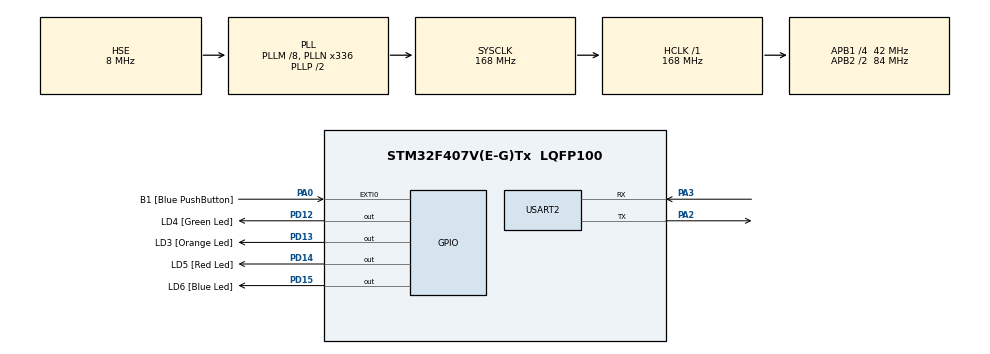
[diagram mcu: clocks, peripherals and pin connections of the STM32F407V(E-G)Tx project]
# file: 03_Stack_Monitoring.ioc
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FREERTOS.Tasks01=defaultTask,24,128,StartDefaultTask,Default,NULL,Dynamic,NULL,NULL
FREERTOS.configCHECK_FOR_STACK_OVERFLOW=2
FREERTOS.configTOTAL_HEAP_SIZE=32768
FREERTOS.configUSE_IDLE_HOOK=0
FREERTOS.configUSE_MALLOC_FAILED_HOOK=1
FREERTOS.configUSE_TICK_HOOK=0
FREERTOS.configUSE_TRACE_FACILITY=1
Mcu.Family=STM32F4
Mcu.Name=STM32F407V(E-G)Tx
Mcu.Package=LQFP100
NVIC.EXTI0_IRQn=true\:5\:0\:false\:false\:true\:true\:true\:true\:true
NVIC.PriorityGroup=NVIC_PRIORITYGROUP_4
NVIC.TIM6_DAC_IRQn=true\:15\:0\:false\:false\:true\:false\:false\:true\:true
NVIC.TimeBase=TIM6_DAC_IRQn
NVIC.TimeBaseIP=TIM6
PA0-WKUP.GPIO_Label=B1 [Blue PushButton]
PA0-WKUP.GPIO_ModeDefaultEXTI=GPIO_MODE_IT_RISING
PA0-WKUP.GPIO_PuPd=GPIO_NOPULL
PA0-WKUP.Signal=GPXTI0
PA13.GPIO_Label=SWDIO
PA13.Mode=Serial_Wire
PA13.Signal=SYS_JTMS-SWDIO
PA14.GPIO_Label=SWCLK
PA14.Mode=Serial_Wire
PA14.Signal=SYS_JTCK-SWCLK
PA2.Mode=Asynchronous
PA2.Signal=USART2_TX
PA3.Mode=Asynchronous
PA3.Signal=USART2_RX
PB3.GPIO_Label=SWO
PB3.Signal=SYS_JTDO-SWO
PC14-OSC32_IN.GPIO_Label=PC14-OSC32_IN
PC14-OSC32_IN.Mode=LSE-External-Oscillator
PC14-OSC32_IN.Signal=RCC_OSC32_IN
PC15-OSC32_OUT.GPIO_Label=PC15-OSC32_OUT
PC15-OSC32_OUT.Mode=LSE-External-Oscillator
PC15-OSC32_OUT.Signal=RCC_OSC32_OUT
PD12.GPIO_Label=LD4 [Green Led]
PD12.GPIO_PuPd=GPIO_NOPULL
PD12.GPIO_Speed=GPIO_SPEED_FREQ_LOW
PD12.Signal=GPIO_Output
PD13.GPIO_Label=LD3 [Orange Led]
PD13.GPIO_PuPd=GPIO_NOPULL
PD13.GPIO_Speed=GPIO_SPEED_FREQ_LOW
PD13.Signal=GPIO_Output
PD14.GPIO_Label=LD5 [Red Led]
PD14.GPIO_PuPd=GPIO_NOPULL
PD14.GPIO_Speed=GPIO_SPEED_FREQ_LOW
PD14.Signal=GPIO_Output
PD15.GPIO_Label=LD6 [Blue Led]
PD15.GPIO_PuPd=GPIO_NOPULL
PD15.GPIO_Speed=GPIO_SPEED_FREQ_LOW
PD15.Signal=GPIO_Output
PH0-OSC_IN.GPIO_Label=PH0-OSC_IN
PH0-OSC_IN.Mode=HSE-External-Oscillator
PH0-OSC_IN.Signal=RCC_OSC_IN
PH1-OSC_OUT.GPIO_Label=PH1-OSC_OUT
PH1-OSC_OUT.Mode=HSE-External-Oscillator
PH1-OSC_OUT.Signal=RCC_OSC_OUT
ProjectManager.HeapSize=0x200
ProjectManager.StackSize=0x400
ProjectManager.TargetToolchain=STM32CubeIDE
RCC.48MHZClocksFreq_Value=48000000
RCC.AHBFreq_Value=168000000
RCC.APB1CLKDivider=RCC_HCLK_DIV4
RCC.APB1Freq_Value=42000000
RCC.APB1TimFreq_Value=84000000
RCC.APB2CLKDivider=RCC_HCLK_DIV2
RCC.APB2Freq_Value=84000000
RCC.APB2TimFreq_Value=168000000
RCC.CortexFreq_Value=168000000
RCC.HCLKFreq_Value=168000000
RCC.HSE_VALUE=8000000
RCC.HSI_VALUE=16000000
RCC.PLLM=8
RCC.PLLN=336
RCC.PLLQ=7
RCC.PLLSourceVirtual=RCC_PLLSOURCE_HSE
RCC.SYSCLKFreq_VALUE=168000000
RCC.SYSCLKSource=RCC_SYSCLKSOURCE_PLLCLK
RCC.VCOOutputFreq_Value=336000000
USART2.VirtualMode=VM_ASYNC
VP_FREERTOS_VS_CMSIS_V2.Mode=CMSIS_V2
VP_SYS_VS_tim6.Mode=TIM6
board=STM32F407G-DISC1

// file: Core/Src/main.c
/* USER CODE BEGIN Header */
/**
  ******************************************************************************
  * @file           : main.c
  * @brief          : Main program body
  ******************************************************************************
  * @attention
  *
  * Copyright (c) 2026 STMicroelectronics.
  * All rights reserved.
  *
  * This software is licensed under terms that can be found in the LICENSE file
  * in the root directory of this software component.
  * If no LICENSE file comes with this software, it is provided AS-IS.
  *
  ******************************************************************************
  */
/* USER CODE END Header */
#include "main.h"

/* USER CODE BEGIN Includes */
#include "FreeRTOS.h"
#include "task.h"
#include <stdio.h>
/* USER CODE END Includes */

UART_HandleTypeDef huart2;

void SystemClock_Config(void);
static void MX_GPIO_Init(void);
static void MX_USART2_UART_Init(void);

/* USER CODE BEGIN PFP */
static void StackTask(void *argument);
/* USER CODE END PFP */

int main(void)
{

  /* MCU Configuration--------------------------------------------------------*/

  /* Reset of all peripherals, Initializes the Flash interface and the Systick. */
  HAL_Init();

  /* Configure the system clock */
  SystemClock_Config();

  /* Initialize all configured peripherals */
  MX_GPIO_Init();
  MX_USART2_UART_Init();

  xTaskCreate(StackTask, "StackTask", 256, NULL, 2, NULL);

  vTaskStartScheduler();

  /* We should never get here as control is now taken by the scheduler */

  /* Infinite loop */
  while (1)
  {

  }
}

void SystemClock_Config(void)
{
  RCC_OscInitTypeDef RCC_OscInitStruct = {0};
  RCC_ClkInitTypeDef RCC_ClkInitStruct = {0};

  /** Configure the main internal regulator output voltage
  */
  __HAL_RCC_PWR_CLK_ENABLE();
  __HAL_PWR_VOLTAGESCALING_CONFIG(PWR_REGULATOR_VOLTAGE_SCALE1);

  /** Initializes the RCC Oscillators according to the specified parameters
  * in the RCC_OscInitTypeDef structure.
  */
  RCC_OscInitStruct.OscillatorType = RCC_OSCILLATORTYPE_HSE;
  RCC_OscInitStruct.HSEState = RCC_HSE_ON;
  RCC_OscInitStruct.PLL.PLLState = RCC_PLL_ON;
  RCC_OscInitStruct.PLL.PLLSource = RCC_PLLSOURCE_HSE;
  RCC_OscInitStruct.PLL.PLLM = 8;
  RCC_OscInitStruct.PLL.PLLN = 336;
  RCC_OscInitStruct.PLL.PLLP = RCC_PLLP_DIV2;
  RCC_OscInitStruct.PLL.PLLQ = 7;
  if (HAL_RCC_OscConfig(&RCC_OscInitStruct) != HAL_OK)
  {
    Error_Handler();
  }

  /** Initializes the CPU, AHB and APB buses clocks
  */
  RCC_ClkInitStruct.ClockType = RCC_CLOCKTYPE_HCLK|RCC_CLOCKTYPE_SYSCLK
                              |RCC_CLOCKTYPE_PCLK1|RCC_CLOCKTYPE_PCLK2;
  RCC_ClkInitStruct.SYSCLKSource = RCC_SYSCLKSOURCE_PLLCLK;
  RCC_ClkInitStruct.AHBCLKDivider = RCC_SYSCLK_DIV1;
  RCC_ClkInitStruct.APB1CLKDivider = RCC_HCLK_DIV4;
  RCC_ClkInitStruct.APB2CLKDivider = RCC_HCLK_DIV2;

  if (HAL_RCC_ClockConfig(&RCC_ClkInitStruct, FLASH_LATENCY_5) != HAL_OK)
  {
    Error_Handler();
  }
}

static void MX_USART2_UART_Init(void)
{

  huart2.Instance = USART2;
  huart2.Init.BaudRate = 115200;
  huart2.Init.WordLength = UART_WORDLENGTH_8B;
  huart2.Init.StopBits = UART_STOPBITS_1;
  huart2.Init.Parity = UART_PARITY_NONE;
  huart2.Init.Mode = UART_MODE_TX_RX;
  huart2.Init.HwFlowCtl = UART_HWCONTROL_NONE;
  huart2.Init.OverSampling = UART_OVERSAMPLING_16;
  if (HAL_UART_Init(&huart2) != HAL_OK)
  {
    Error_Handler();
  }

}

static void MX_GPIO_Init(void)
{
  GPIO_InitTypeDef GPIO_InitStruct = {0};

  /* GPIO Ports Clock Enable */
  __HAL_RCC_GPIOC_CLK_ENABLE();
  __HAL_RCC_GPIOH_CLK_ENABLE();
  __HAL_RCC_GPIOA_CLK_ENABLE();
  __HAL_RCC_GPIOD_CLK_ENABLE();
  __HAL_RCC_GPIOB_CLK_ENABLE();

  /*Configure GPIO pin Output Level */
  HAL_GPIO_WritePin(GPIOD, LD4_Pin|LD3_Pin|LD5_Pin|LD6_Pin, GPIO_PIN_RESET);

  /*Configure GPIO pin : B1_Pin */
  GPIO_InitStruct.Pin = B1_Pin;
  GPIO_InitStruct.Mode = GPIO_MODE_IT_RISING;
  GPIO_InitStruct.Pull = GPIO_NOPULL;
  HAL_GPIO_Init(B1_GPIO_Port, &GPIO_InitStruct);

  /*Configure GPIO pins : LD4_Pin LD3_Pin LD5_Pin LD6_Pin */
  GPIO_InitStruct.Pin = LD4_Pin|LD3_Pin|LD5_Pin|LD6_Pin;
  GPIO_InitStruct.Mode = GPIO_MODE_OUTPUT_PP;
  GPIO_InitStruct.Pull = GPIO_NOPULL;
  GPIO_InitStruct.Speed = GPIO_SPEED_FREQ_LOW;
  HAL_GPIO_Init(GPIOD, &GPIO_InitStruct);

  /* EXTI interrupt init*/
  HAL_NVIC_SetPriority(EXTI0_IRQn, 5, 0);
  HAL_NVIC_EnableIRQ(EXTI0_IRQn);

}

/* USER CODE BEGIN 4 */
static void StackTask(void *argument)
{
    char msg[100];
    UBaseType_t watermark;
    int len;

    for (;;)
    {
        watermark = uxTaskGetStackHighWaterMark(NULL);

        len = snprintf(msg, sizeof(msg), "Stack high water mark: %lu words\r\n", (unsigned long)watermark);

        HAL_UART_Transmit(&huart2, (uint8_t *)msg, len, HAL_MAX_DELAY);

        vTaskDelay(pdMS_TO_TICKS(1000));
    }
}
/* USER CODE END 4 */

void HAL_TIM_PeriodElapsedCallback(TIM_HandleTypeDef *htim)
{
  if (htim->Instance == TIM6)
  {
    HAL_IncTick();
  }
}

void Error_Handler(void)
{
  __disable_irq();
  while (1)
  {
  }
}

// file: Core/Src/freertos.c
/* USER CODE BEGIN Header */
/**
  ******************************************************************************
  * File Name          : freertos.c
  * Description        : Code for freertos applications
  ******************************************************************************
  * @attention
  *
  * Copyright (c) 2026 STMicroelectronics.
  * All rights reserved.
  *
  * This software is licensed under terms that can be found in the LICENSE file
  * in the root directory of this software component.
  * If no LICENSE file comes with this software, it is provided AS-IS.
  *
  ******************************************************************************
  */
/* USER CODE END Header */

#include "FreeRTOS.h"
#include "task.h"
#include "main.h"

/* USER CODE BEGIN Includes */
#include <string.h>
/* USER CODE END Includes */

/* USER CODE BEGIN Variables */
extern UART_HandleTypeDef huart2;
/* USER CODE END Variables */

/* Hook prototypes */
void vApplicationStackOverflowHook(xTaskHandle xTask, signed char *pcTaskName);
void vApplicationMallocFailedHook(void);

/* USER CODE BEGIN 4 */
void vApplicationStackOverflowHook(xTaskHandle xTask, signed char *pcTaskName)
{
   /* Run time stack overflow checking is performed if
   configCHECK_FOR_STACK_OVERFLOW is defined to 1 or 2. This hook function is
   called if a stack overflow is detected. */
   const char *msg = "STACK OVERFLOW\r\n";

   HAL_UART_Transmit(&huart2, (uint8_t *)msg, strlen(msg), HAL_MAX_DELAY);

   while (1);
}
/* USER CODE END 4 */

/* USER CODE BEGIN 5 */
void vApplicationMallocFailedHook(void)
{
   /* vApplicationMallocFailedHook() will only be called if
   configUSE_MALLOC_FAILED_HOOK is set to 1 in FreeRTOSConfig.h. It is a hook
   function that will get called if a call to pvPortMalloc() fails.
   pvPortMalloc() is called internally by the kernel whenever a task, queue,
   timer or semaphore is created. It is also called by various parts of the
   demo application. If heap_1.c or heap_2.c are used, then the size of the
   heap available to pvPortMalloc() is defined by configTOTAL_HEAP_SIZE in
   FreeRTOSConfig.h, and the xPortGetFreeHeapSize() API function can be used
   to query the size of free heap space that remains (although it does not
   provide information on how the remaining heap might be fragmented). */
}
/* USER CODE END 5 */
